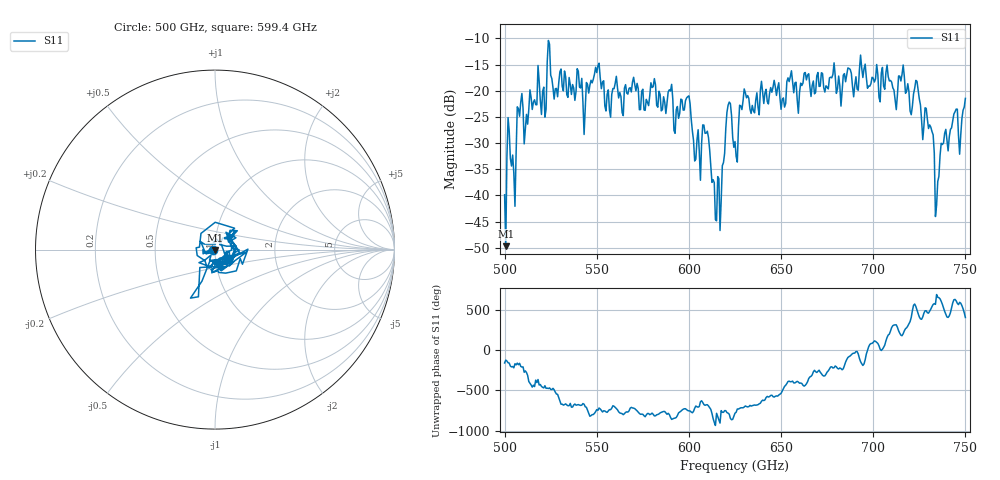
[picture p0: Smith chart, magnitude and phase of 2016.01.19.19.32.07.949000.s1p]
!Created with skrf (http://scikit-rf.org).
# GHz S RI R 50.0
!freq ReS11 ImS11
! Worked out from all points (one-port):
!   401 points, 500 GHz to 750 GHz, reference 50 ohm
!   lowest |S11| = -49.7 dB at 500.6 GHz (marker M1), VSWR 1.01, Z = 49.8 - j0.275 ohm
!   |S11| at or under -10 dB: start of sweep to end of sweep
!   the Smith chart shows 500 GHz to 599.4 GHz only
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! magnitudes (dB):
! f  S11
! 500 GHz  -39.9
! 500.6 GHz  -49.7
! 502.5 GHz  -27.7
! 505 GHz  -35.7
! 508.1 GHz  -24.9
! 521.2 GHz  -19.3
! 524.4 GHz  -11.1
! 527.5 GHz  -19.6
! 531.2 GHz  -19.2
! 543.8 GHz  -23.4
! 550 GHz  -16.5
! 562.5 GHz  -20.3
! 580.6 GHz  -19.2
! 593.8 GHz  -23.0
! 599.4 GHz  -21.1
! 605 GHz  -27.4
! 608.8 GHz  -28.1
! 615.6 GHz  -36.4
! 621.2 GHz  -22.8
! 625 GHz  -29.7
! 630.6 GHz  -20.4
! 656.2 GHz  -18.3
! 687.5 GHz  -15.9
! 718.8 GHz  -18.7
! 729.4 GHz  -25.4
! 735 GHz  -37.3
! 738.1 GHz  -30.0
! 750 GHz  -21.5
